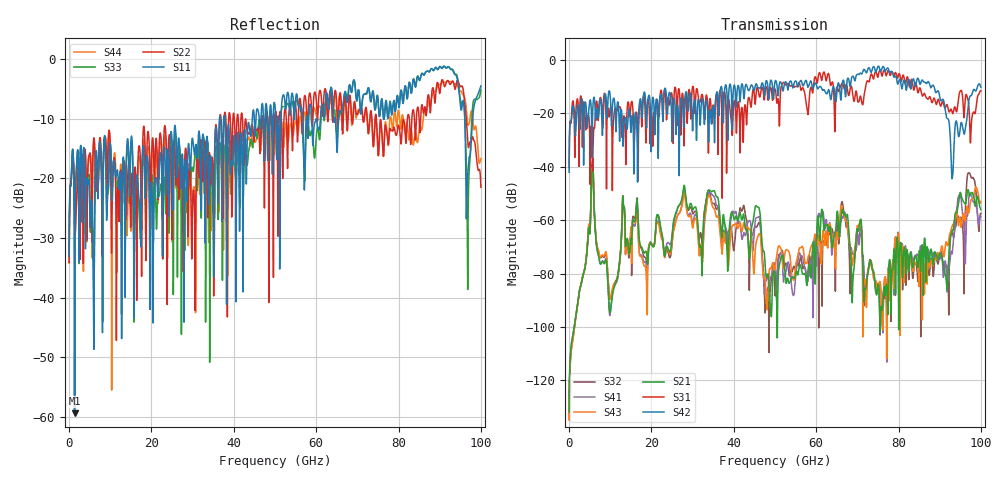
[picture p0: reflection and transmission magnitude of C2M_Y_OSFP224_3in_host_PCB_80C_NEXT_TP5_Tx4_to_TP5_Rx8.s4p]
# GHz S RI R 45
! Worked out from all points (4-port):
!   4000 points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, 25 MHz to 100 GHz, reference 45 ohm
!   strongest paths, dB at 25 MHz, 25.02 GHz, 50.02 GHz, 75.03 GHz, 100 GHz:
!     S42: -42.1, -30.6, -8.0, -2.4, -10.2
!     S31: -40.1, -13.3, -10.9, -6.3, -11.5
!     S21: -131.7, -66.0, -80.1, -84.2, -56.1
!     S43: -134.8, -68.4, -78.5, -87.2, -53.0
!     S41: -131.8, -65.3, -77.4, -86.8, -58.6
!     S32: -134.4, -68.6, -88.0, -83.7, -57.4
!   lowest |S11| = -59.4 dB at 1.35 GHz (marker M1), VSWR 1.00, Z = 44.9 - j0.0541 ohm
!   |S11| at or under -10 dB: start of sweep to 36.53 GHz; 37.83 GHz to 44.49 GHz (6.656 GHz wide, 16.2 % of centre); 96.08 GHz to 98 GHz (1.925 GHz wide, 1.98 % of centre) (the widest 3 of 19)
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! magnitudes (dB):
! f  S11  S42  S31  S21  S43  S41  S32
! 25 MHz  -33.0  -42.1  -40.1  -131.7  -134.8  -131.8  -134.4
! 1.35 GHz  -59.4  -21.8  -29.9  -98.8  -99.5  -98.7  -99.5
! 5.7 GHz  -28.9  -22.1  -39.2  -38.8  -38.7  -38.7  -38.7
! 9.9 GHz  -14.5  -12.1  -19.1  -94.5  -89.6  -95.8  -89.2
! 76.28 GHz  -9.5  -2.4  -4.5  -88.9  -93.9  -95.6  -88.2
! 93.08 GHz  -1.8  -44.0  -19.9  -63.8  -62.0  -72.3  -64.4
! 100 GHz  -4.5  -10.2  -11.5  -56.1  -53.0  -58.6  -57.4
